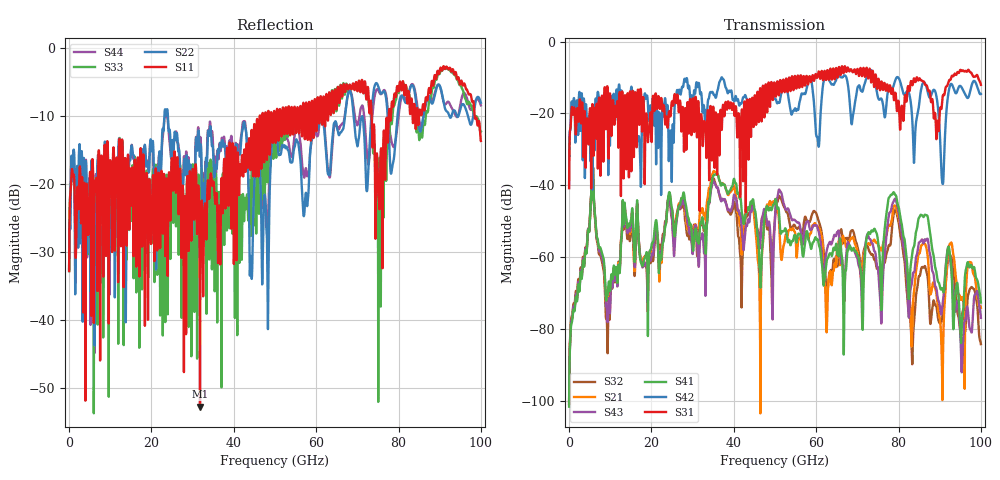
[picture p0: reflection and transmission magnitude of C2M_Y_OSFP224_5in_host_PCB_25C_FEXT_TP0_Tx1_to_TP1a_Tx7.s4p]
# GHz S RI R 45
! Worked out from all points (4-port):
!   4000 points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, 25 MHz to 100 GHz, reference 45 ohm
!   strongest paths, dB at 25 MHz, 25.02 GHz, 50.02 GHz, 75.03 GHz, 100 GHz:
!     S31: -40.8, -16.6, -12.6, -11.0, -12.0
!     S42: -39.6, -29.2, -16.0, -15.6, -14.6
!     S41: -101.6, -46.6, -44.3, -55.5, -72.6
!     S43: -100.8, -49.3, -49.1, -63.4, -76.9
!     S21: -100.9, -46.6, -44.0, -56.5, -74.1
!     S32: -100.0, -49.5, -48.8, -62.9, -84.2
!   lowest |S11| = -52.8 dB at 31.8 GHz (marker M1), VSWR 1.00, Z = 44.8 - j0.139 ohm
!   |S11| at or under -10 dB: start of sweep to 46.32 GHz; 73.48 GHz to 77.64 GHz (4.159 GHz wide, 5.5 % of centre); 98.49 GHz to end of sweep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
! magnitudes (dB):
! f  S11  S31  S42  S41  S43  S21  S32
! 25 MHz  -32.8  -40.8  -39.6  -101.6  -100.8  -100.9  -100.0
! 5.65 GHz  -16.7  -17.5  -27.2  -43.9  -43.9  -43.8  -43.8
! 9.4 GHz  -14.5  -13.4  -21.0  -70.3  -78.1  -72.0  -85.4
! 31.8 GHz  -52.8  -28.9  -14.5  -50.8  -55.1  -47.2  -50.5
! 75.72 GHz  -14.9  -11.8  -15.8  -69.8  -76.1  -58.1  -64.3
! 79.1 GHz  -6.8  -14.9  -11.2  -42.5  -43.7  -45.6  -46.8
! 100 GHz  -13.7  -12.0  -14.6  -72.6  -76.9  -74.1  -84.2
